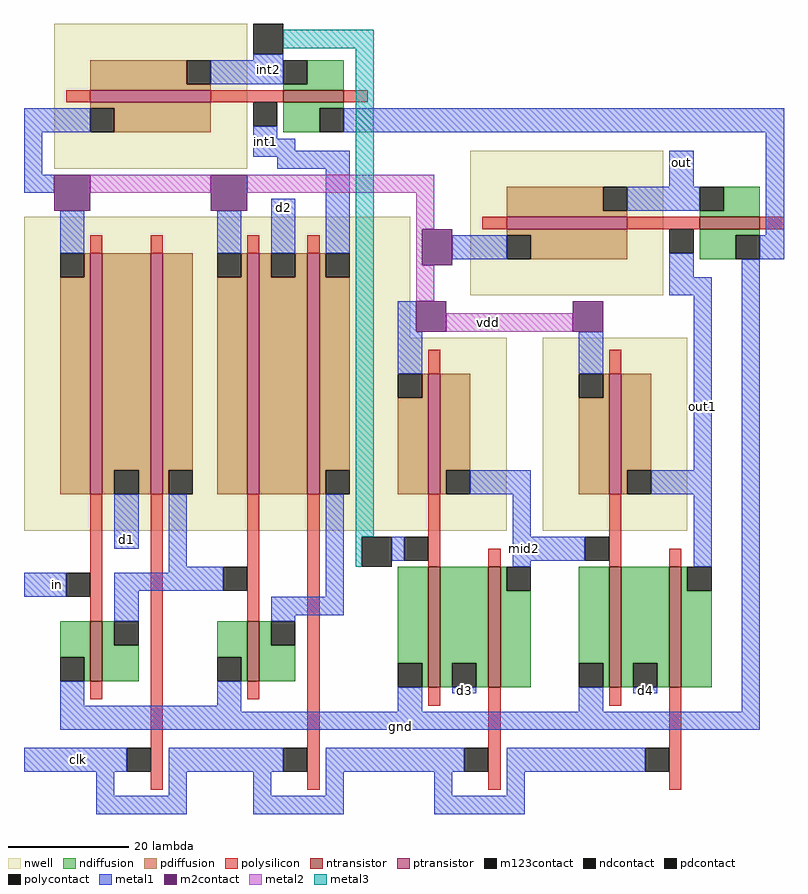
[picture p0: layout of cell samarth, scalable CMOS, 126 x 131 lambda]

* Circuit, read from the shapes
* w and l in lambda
.subckt samarth clk d1 d2 d3 d4 gnd in int1 int2 mid2 out out1 vdd
M1 n1 in gnd VSUBS nfet w=10 l=2
M2 int1 n1 gnd VSUBS nfet w=10 l=2
M3 int2 int1 gnd VSUBS nfet w=10 l=2
M4 d3 int2 gnd VSUBS nfet w=20 l=2
M5 mid2 clk d3 VSUBS nfet w=20 l=2
M6 d4 mid2 gnd VSUBS nfet w=20 l=2
M7 out1 clk d4 VSUBS nfet w=20 l=2
M8 out out1 gnd VSUBS nfet w=10 l=2
M9 d1 in vdd n2 pfet w=40 l=2
M10 int2 int1 vdd n3 pfet w=20 l=2
M11 n1 clk d1 n2 pfet w=40 l=2
M12 d2 n1 vdd n2 pfet w=40 l=2
M13 int1 clk d2 n2 pfet w=40 l=2
M14 mid2 int2 vdd n2 pfet w=20 l=2
M15 out out1 vdd n4 pfet w=20 l=2
M16 out1 mid2 vdd n5 pfet w=20 l=2
.ends

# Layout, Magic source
magic
tech scmos
<< nwell >>
rect -6 -10 26 14
rect -11 -38 53 -18
rect 63 -31 95 -7
rect -11 -70 69 -38
rect 75 -70 99 -38
<< ntransistor >>
rect 32 1 42 3
rect 101 -20 111 -18
rect 0 -95 2 -85
rect 26 -95 28 -85
rect 56 -96 58 -76
rect 66 -96 68 -76
rect 86 -96 88 -76
rect 96 -96 98 -76
<< ptransistor >>
rect 0 1 20 3
rect 69 -20 89 -18
rect 0 -64 2 -24
rect 10 -64 12 -24
rect 26 -64 28 -24
rect 36 -64 38 -24
rect 56 -64 58 -44
rect 86 -64 88 -44
<< ndiffusion >>
rect 36 4 42 8
rect 32 3 42 4
rect 32 0 42 1
rect 32 -4 38 0
rect 105 -17 111 -13
rect 101 -18 111 -17
rect 101 -21 111 -20
rect 101 -25 107 -21
rect -5 -91 0 -85
rect -1 -95 0 -91
rect 2 -89 4 -85
rect 2 -95 8 -89
rect 21 -91 26 -85
rect 25 -95 26 -91
rect 28 -89 30 -85
rect 28 -95 34 -89
rect 51 -92 56 -76
rect 55 -96 56 -92
rect 58 -92 66 -76
rect 58 -96 60 -92
rect 64 -96 66 -92
rect 68 -80 69 -76
rect 68 -96 73 -80
rect 81 -92 86 -76
rect 85 -96 86 -92
rect 88 -92 96 -76
rect 88 -96 90 -92
rect 94 -96 96 -92
rect 98 -80 99 -76
rect 98 -96 103 -80
<< pdiffusion >>
rect 0 4 16 8
rect 0 3 20 4
rect 0 0 20 1
rect 4 -4 20 0
rect 69 -17 85 -13
rect 69 -18 89 -17
rect 69 -21 89 -20
rect -1 -28 0 -24
rect -5 -64 0 -28
rect 2 -60 10 -24
rect 2 -64 4 -60
rect 8 -64 10 -60
rect 12 -60 17 -24
rect 12 -64 13 -60
rect 25 -28 26 -24
rect 21 -64 26 -28
rect 28 -28 30 -24
rect 34 -28 36 -24
rect 28 -64 36 -28
rect 38 -28 39 -24
rect 73 -25 89 -21
rect 38 -60 43 -28
rect 38 -64 39 -60
rect 55 -48 56 -44
rect 51 -64 56 -48
rect 58 -60 63 -44
rect 58 -64 59 -60
rect 85 -48 86 -44
rect 81 -64 86 -48
rect 88 -60 93 -44
rect 88 -64 89 -60
<< ndcontact >>
rect 32 4 36 8
rect 38 -4 42 0
rect 101 -17 105 -13
rect 107 -25 111 -21
rect -5 -95 -1 -91
rect 4 -89 8 -85
rect 21 -95 25 -91
rect 30 -89 34 -85
rect 51 -96 55 -92
rect 60 -96 64 -92
rect 69 -80 73 -76
rect 81 -96 85 -92
rect 90 -96 94 -92
rect 99 -80 103 -76
<< pdcontact >>
rect 16 4 20 8
rect 0 -4 4 0
rect 85 -17 89 -13
rect -5 -28 -1 -24
rect 4 -64 8 -60
rect 13 -64 17 -60
rect 21 -28 25 -24
rect 30 -28 34 -24
rect 39 -28 43 -24
rect 69 -25 73 -21
rect 39 -64 43 -60
rect 51 -48 55 -44
rect 59 -64 63 -60
rect 81 -48 85 -44
rect 89 -64 93 -60
<< polysilicon >>
rect -4 1 0 3
rect 20 1 32 3
rect 42 1 46 3
rect 65 -20 69 -18
rect 89 -20 101 -18
rect 111 -20 115 -18
rect 0 -24 2 -21
rect 10 -24 12 -21
rect 26 -24 28 -21
rect 36 -24 38 -21
rect 56 -44 58 -40
rect 86 -44 88 -40
rect 0 -85 2 -64
rect 0 -98 2 -95
rect 10 -113 12 -64
rect 26 -85 28 -64
rect 26 -98 28 -95
rect 36 -113 38 -64
rect 56 -76 58 -64
rect 66 -76 68 -73
rect 86 -76 88 -64
rect 96 -76 98 -73
rect 56 -99 58 -96
rect 66 -113 68 -96
rect 86 -99 88 -96
rect 96 -113 98 -96
<< polycontact >>
rect 27 -3 31 1
rect 96 -24 100 -20
rect -4 -81 0 -77
rect 6 -110 10 -106
rect 22 -80 26 -76
rect 32 -110 36 -106
rect 52 -75 56 -71
rect 82 -75 86 -71
rect 62 -110 66 -106
rect 92 -110 96 -106
<< metal1 >>
rect 27 8 32 9
rect 20 4 32 8
rect -11 -4 0 0
rect -11 -11 -8 -4
rect 27 -5 31 -3
rect 42 -4 115 0
rect 27 -7 34 -5
rect 27 -8 43 -7
rect 31 -10 43 -8
rect -11 -14 -6 -11
rect -5 -24 -1 -17
rect 21 -24 25 -17
rect 30 -24 34 -15
rect 39 -24 43 -10
rect 96 -13 100 -7
rect 89 -17 101 -13
rect 60 -25 69 -21
rect 112 -21 115 -4
rect 96 -28 100 -24
rect 111 -25 115 -21
rect 96 -31 103 -28
rect 51 -37 54 -32
rect 51 -44 55 -37
rect 81 -44 85 -37
rect 100 -60 103 -31
rect 4 -73 8 -64
rect 63 -64 73 -60
rect 93 -64 103 -60
rect 13 -76 16 -64
rect 13 -77 22 -76
rect -11 -81 -4 -77
rect 4 -80 22 -77
rect 4 -85 8 -80
rect 39 -81 42 -64
rect 70 -71 73 -64
rect 50 -75 52 -71
rect 70 -75 82 -71
rect 70 -76 73 -75
rect 100 -76 103 -64
rect 30 -84 42 -81
rect 30 -85 34 -84
rect -5 -99 -1 -95
rect 21 -99 25 -95
rect -5 -100 25 -99
rect 51 -100 55 -96
rect 60 -97 64 -96
rect 81 -100 85 -96
rect 90 -97 94 -96
rect 108 -100 111 -25
rect -5 -103 111 -100
rect -11 -110 6 -106
rect 13 -110 32 -106
rect 39 -110 62 -106
rect 69 -110 92 -106
rect 1 -114 4 -110
rect 13 -114 16 -110
rect 1 -117 16 -114
rect 27 -114 30 -110
rect 39 -114 42 -110
rect 27 -117 42 -114
rect 57 -114 60 -110
rect 69 -114 72 -110
rect 57 -117 72 -114
<< m2contact >>
rect -6 -17 0 -11
rect 20 -17 26 -11
rect 55 -26 60 -20
rect 54 -37 59 -32
rect 80 -37 85 -32
<< metal2 >>
rect 0 -14 20 -11
rect 26 -14 57 -11
rect 54 -20 57 -14
rect 54 -26 55 -20
rect 54 -32 57 -26
rect 59 -37 80 -34
<< m123contact >>
rect 27 9 32 14
rect 45 -76 50 -71
<< metal3 >>
rect 32 10 47 13
rect 44 -71 47 10
rect 44 -76 45 -71
<< labels >>
rlabel metal1 97 -10 99 -8 5 out
rlabel metal1 -3 -109 -1 -107 1 clk
rlabel metal1 42 -103 61 -102 1 gnd
rlabel metal2 65 -36 67 -35 1 vdd
rlabel metal1 61 -97 63 -96 1 d3
rlabel metal1 71 -74 73 -72 1 mid2
rlabel metal1 91 -97 93 -96 1 d4
rlabel metal1 101 -60 102 -39 1 out1
rlabel metal1 5 -72 7 -71 1 d1
rlabel metal1 31 -17 33 -16 1 d2
rlabel metal1 28 -6 30 -5 1 int1
rlabel metal1 28 6 31 7 1 int2
rlabel metal1 -6 -80 -5 -78 1 in
<< end >>
